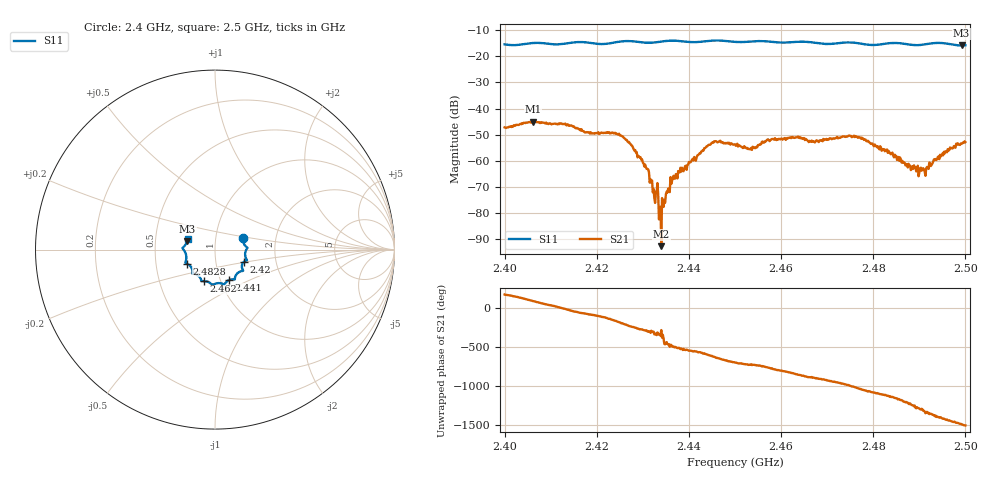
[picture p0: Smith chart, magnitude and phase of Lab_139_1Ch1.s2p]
# Hz S RI R 50
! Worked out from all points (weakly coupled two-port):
!   601 points, 2.4 GHz to 2.5 GHz, reference 50 ohm
!   highest |S21| = -45.06 dB at 2.4062 GHz (marker M1); lowest = -92.7 dB at 2.434 GHz (marker M2)
!   lowest |S11| = -15.8 dB at 2.4992 GHz (marker M3), VSWR 1.39, Z = 36.5 + j3.66 ohm
!   |S11| at or under -10 dB: start of sweep to end of sweep
!   S12 and S22 are empty: the file has one direction only
!   S11 on the Smith chart (normalised r, x): 2.4 GHz: 1.36, +0.18; 2.42 GHz: 1.36, -0.20; 2.441 GHz: 1.10, -0.39; 2.462 GHz: 0.84, -0.30; 2.4828 GHz: 0.72, -0.12; 2.5 GHz: 0.73, +0.09
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2.4e9  0.1574 0.0631  -0.00426 0.000897  0 0  0 0
2.406167e9  0.1796 0.0118  0.000567 0.00555  0 0  0 0
2.416667e9  0.1778 -0.0599  0.00158 -0.00371  0 0  0 0
2.42e9  0.1595 -0.0695  -0.00077 -0.0033  0 0  0 0
2.424333e9  0.1528 -0.1088  -0.00328 -0.000262  0 0  0 0
2.427167e9  0.1559 -0.1182  -0.00112 0.00183  0 0  0 0
2.430833e9  0.1285 -0.1292  0.000249 0.000652  0 0  0 0
2.433333e9  0.1123 -0.1508  0.000197 9.93e-05  0 0  0 0
2.434e9  0.1113 -0.1564  6.83e-06 2.2e-05  0 0  0 0
2.4365e9  0.1097 -0.1668  -0.000366 -0.000294  0 0  0 0
2.441e9  0.0785 -0.1695  -0.000949 0.000355  0 0  0 0
2.4455e9  0.0522 -0.194  -1.16e-05 0.00237  0 0  0 0
2.45e9  0.0286 -0.187  0.00197 0.000615  0 0  0 0
2.453167e9  -0.00166 -0.1915  0.00164 -0.000292  0 0  0 0
2.462e9  -0.0601 -0.1756  -0.00105 -0.0026  0 0  0 0
2.466667e9  -0.0778 -0.1683  -0.00238 -0.000462  0 0  0 0
2.476e9  -0.1258 -0.131  0.00138 0.00249  0 0  0 0
2.482833e9  -0.1579 -0.0775  0.00111 -0.00108  0 0  0 0
2.483333e9  -0.1607 -0.0761  0.00097 -0.0012  0 0  0 0
2.491e9  -0.1678 -0.0113  -0.000333 0.000602  0 0  0 0
2.499167e9  -0.1539 0.0488  0.00119 -0.00177  0 0  0 0
2.5e9  -0.1514 0.061  0.000807 -0.00213  0 0  0 0
